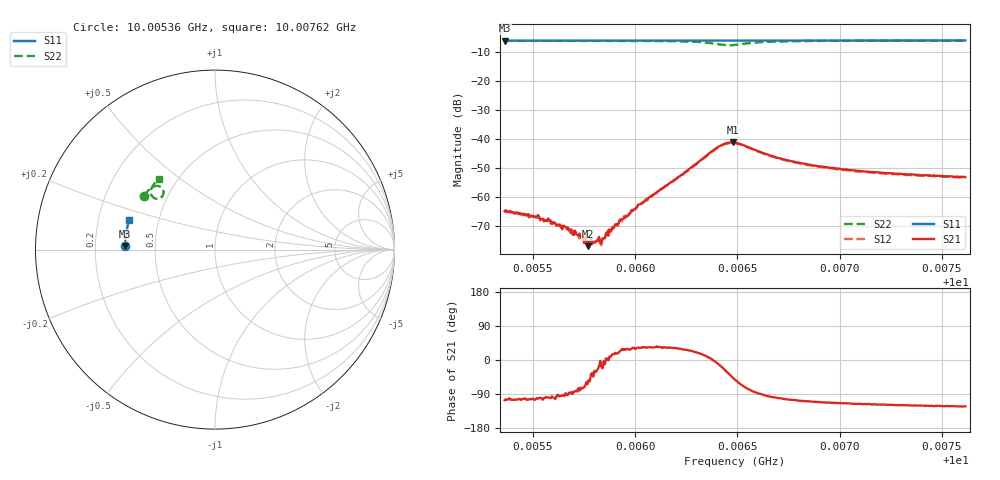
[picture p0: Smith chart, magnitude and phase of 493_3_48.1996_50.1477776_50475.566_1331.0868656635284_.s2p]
#  HZ  S  RI  R  50.00
! Rohde & Schwarz Vector Network Analyzer
! Rohde-Schwarz,ZNB20-2Port,1311601062101988,3.16
! Created: UTC 3/20/2024, 11:58:09 AM
! freq[Hz]  re:S11  im:S11  re:S21  im:S21  re:S12  im:S12  re:S22  im:S22
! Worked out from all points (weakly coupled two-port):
!   401 points, 10.00536 GHz to 10.00762 GHz, reference 50 ohm
!   highest |S21| = -41.22 dB at 10.00648 GHz (marker M1); lowest = -77.1 dB at 10.00577 GHz (marker M2)
!   lowest |S11| = -6.0 dB at 10.00536 GHz (marker M3), VSWR 3.01, Z = 16.6 + j0.906 ohm
!   |S11| at or under -10 dB: nowhere
!   |S22| runs from -7.6 to -6.0 dB; largest |S21 - S12| = 0.00053
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1.0005362e10  -0.5004 0.0204  -0.000157 -0.000538  -0.000135 -0.000541  -0.3961 0.2984
1.0005519e10  -0.5002 0.0307  -8.47e-05 -0.000445  -7.51e-05 -0.00044  -0.3893 0.3076
1.000561e10  -0.5 0.0366  -8e-05 -0.000342  -1.4e-05 -0.000341  -0.3855 0.3132
1.000566e10  -0.4998 0.04  1.34e-05 -0.0003  2.95e-05 -0.000272  -0.3831 0.3162
1.00057e10  -0.4997 0.0425  2.42e-05 -0.000217  2.75e-05 -0.000255  -0.3811 0.3187
1.0005739e10  -0.4995 0.0452  4.72e-05 -0.000192  6.01e-05 -0.000191  -0.3791 0.3211
1.0005767e10  -0.4995 0.0469  6.1e-05 -0.000125  8.92e-05 -0.000144  -0.3776 0.3228
1.0005779e10  -0.4995 0.0476  8.63e-05 -0.000128  0.000118 -0.000121  -0.3769 0.3235
1.0005796e10  -0.4994 0.0487  0.000122 -0.000118  0.000128 -8.71e-05  -0.3761 0.3246
1.0005841e10  -0.4991 0.0516  0.000173 -7.05e-05  0.000189 -2.23e-05  -0.3737 0.3275
1.0005852e10  -0.4991 0.0523  0.000186 -3.77e-05  0.000205 1.9e-05  -0.3729 0.3281
1.0005936e10  -0.4986 0.0579  0.00036 0.0002  0.000328 0.000178  -0.3677 0.3337
1.0006117e10  -0.4976 0.0695  0.00103 0.000715  0.00102 0.000745  -0.3526 0.3462
1.0006398e10  -0.4945 0.0877  0.00691 -0.000866  0.0068 -0.000465  -0.2891 0.3322
1.0006438e10  -0.494 0.0899  0.00747 -0.00355  0.00747 -0.00312  -0.2882 0.3068
1.0006477e10  -0.4938 0.0921  0.00597 -0.00631  0.00617 -0.00583  -0.3063 0.2864
1.0006489e10  -0.4937 0.0927  0.00524 -0.00676  0.00554 -0.00635  -0.3134 0.2838
1.0006573e10  -0.4932 0.0979  0.000933 -0.00668  0.00126 -0.00652  -0.3509 0.298
1.0006703e10  -0.4921 0.1063  -0.000855 -0.00457  -0.000618 -0.00454  -0.3577 0.3282
1.0006866e10  -0.4901 0.1167  -0.00117 -0.00328  -0.00102 -0.00326  -0.3502 0.3485
1.0007244e10  -0.4846 0.1407  -0.00121 -0.00224  -0.00108 -0.00224  -0.3305 0.3752
1.0007615e10  -0.4781 0.1636  -0.00116 -0.00183  -0.00108 -0.00185  -0.3112 0.3943
